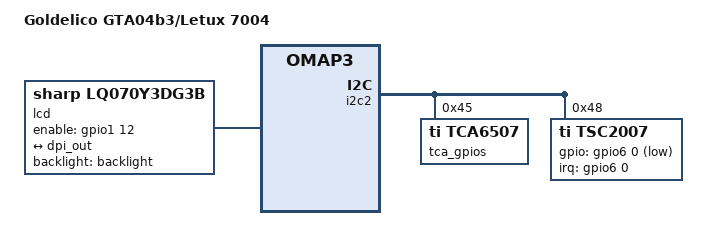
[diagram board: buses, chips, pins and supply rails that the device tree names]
/*
 * Copyright (C) 2014 H. Nikolaus Schaller <hns@goldelico.com>
 *
 * This program is free software; you can redistribute it and/or modify
 * it under the terms of the GNU General Public License version 2 as
 * published by the Free Software Foundation.
 */

/ {
	model = "Goldelico GTA04b3/Letux 7004";

	/* add additional regulators etc. */

	/* overwrite panel definitions */

	/delete-node/ spi;

	lcd: lcd {
		compatible =	"sharp,lq070y3dg3b",
				"panel-dpi";
		label = "lcd";
		enable-gpios = <&gpio1 12 0>;

		backlight = <&backlight>;

		port {
			lcd_in: endpoint {
				remote-endpoint = <&dpi_out>;
			};
		};
	};
};

&omap3_pmx_core2 {
	/delete-node/ spi_gpio_pinmux;
};

&bat {
	battery-name = "Letux-7004-battery";
	energy-full-design-microwatt-hours = <14430000>;
	charge-full-design-microamp-hours = <3900000>;
};

/* FIXME: handle optional USB Host/Ethernet port */

&i2c2 {
	/* we have a different set of LEDs */
	tca_gpios: tca6507@45 {
		compatible = "ti,tca6507";
		#address-cells = <1>;
		#size-cells = <0>;
		reg = <0x45>;

		gta04_led0: led@0 {
			label = "gta04:red:aux";
			reg = <0x0>;
		};

		gta04_led1: led@1 {
			label = "gta04:green:aux";
			reg = <0x1>;
		};

		gta04_led2: led@2 {
			label = "gta04:blue:aux";
			reg = <0x2>;
		};

		gta04_led3: led@3 {
			label = "gta04:red:power";
			reg = <0x3>;
			linux,default-trigger = "default-on";
		};

		gta04_led4: led@4 {
			label = "gta04:green:power";
			reg = <0x4>;
		};

		gta04_led5: led@5 {
			label = "gta04:blue:power";
			reg = <0x5>;
		};

		wifi_reset: led@6 { /* reference as <&tca_gpios 0 0> since it is currently the only GPIO */
			reg = <0x6>;
			compatible = "gpio";
		};

	};

	/* touchscreen */
	tsc2007@48 {
		compatible = "ti,tsc2007";
		reg = <0x48>;
		pinctrl-names = "default";
		pinctrl-0 = <&penirq_pins>;
		interrupt-parent = <&gpio6>;
		interrupts = <0 IRQ_TYPE_EDGE_FALLING>;
		gpios = <&gpio6 0 GPIO_ACTIVE_LOW>;	/* gpio160 */
		ti,x-plate-ohms = <450>;
		touchscreen-size-x = <480>;
		touchscreen-size-y = <800>;
		touchscreen-max-pressure = <1000>;
		touchscreen-fuzz-x = <2>;
		touchscreen-fuzz-y = <2>;
		touchscreen-fuzz-pressure = <10>;
		touchscreen-swapped-x-y;
		ti,min-x = <200>;
		ti,max-x = <4000>;
		ti,min-y = <200>;
		ti,max-y = <4000>;
		ti,max-rt = <1000>;
	};

};
